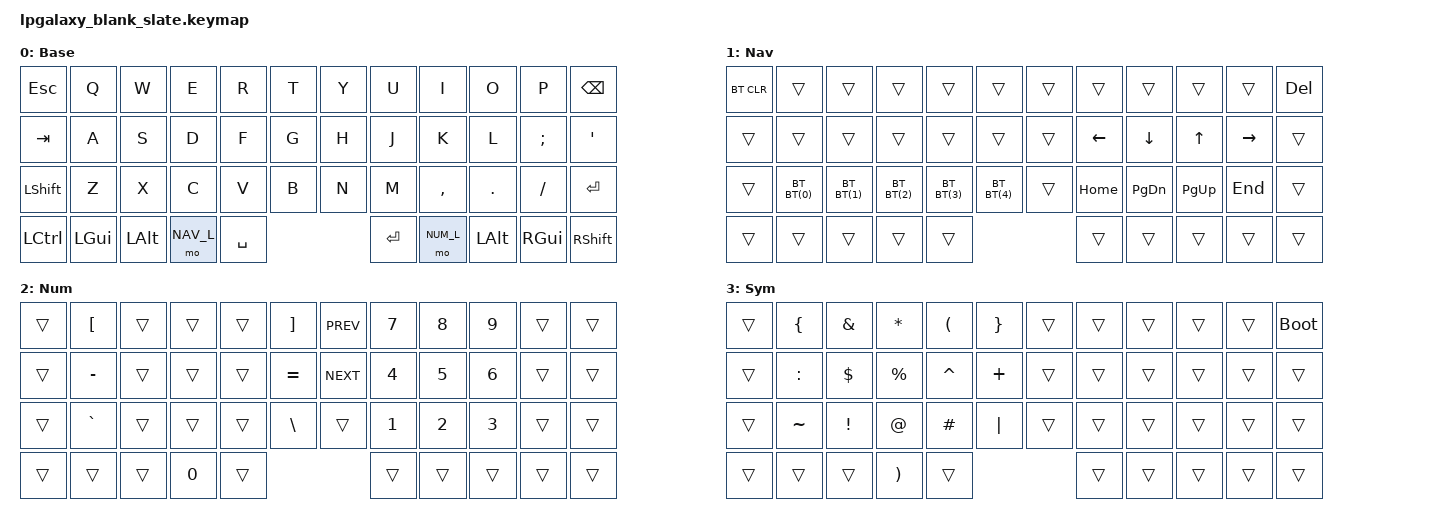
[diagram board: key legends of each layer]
/*
 * Copyright (c) 2022 Pete Johanson
 *
 * SPDX-License-Identifier: MIT
 */

#include <behaviors.dtsi>
#include <dt-bindings/zmk/keys.h>
#include <dt-bindings/zmk/bt.h>
#include <dt-bindings/zmk/outputs.h>

#define QWERTY_BASE 1

// #define TBLE_ORTHO   1
// #define TBLE_MIT     1
#define TBLE_DUAL_2U 1

#define NAV_L 1
#define NUM_L 2
#define SYM_L 3

// Using layer taps on thumbs, having quick tap as well helps w/ repeating space/backspace
&lt { quick_tap_ms = <200>; };

#define BT(n) BT_SEL n

/ {
    chosen {
       zmk,physical-layout =
#ifdef TBLE_DUAL_2U
                       &layout_ortho_4x12_2x2u;
#elif defined(TBLE_MIT)
                       &layout_ortho_4x12_1x2u;
#else
                       &layout_ortho_4x12_all1u;
#endif
    };

    macros {
      ZMK_MACRO(thumbs_up,
		wait-ms = <1>;
		tap-ms = <5>;
                bindings = <&kp PLUS &kp COLON &kp PLUS &kp N1 &kp COLON &kp RET>;
		)
    };
    
    tap_dances {
    	shifty: shift_caps_word {
		compatible = "zmk,behavior-tap-dance";
		label = "TD_SHIFTY";
		#binding-cells = <0>;
		tapping-term-ms = <150>;
		bindings = <&kp LSHFT>, <&caps_word>;
	};
    };

// Conditional layer only when we have less thumb keys
#ifdef TBLE_DUAL_2U
    cond_layers {
        compatible = "zmk,conditional-layers";
	tri {
	    if-layers = <NUM_L NAV_L>;
	    then-layer = <SYM_L>;
        };
    };
#endif

    keymap {
        compatible = "zmk,keymap";

        base_layer {
            label = "Base";
            bindings = <
#ifdef QWERTY_BASE
 &kp ESC    &kp Q      &kp W      &kp E       &kp R          &kp T          &kp Y            &kp U          &kp I       &kp O      &kp P         &kp BKSP
 &kp TAB    &kp A      &kp S      &kp D       &kp F          &kp G          &kp H            &kp J          &kp K       &kp L      &kp SEMI      &kp QUOT
 &kp LSHFT  &kp Z      &kp X      &kp C       &kp V          &kp B          &kp N            &kp M          &kp COMMA   &kp DOT    &kp FSLH      &kp RET
#else
 &kp ESC    &kp Q      &kp W      &kp F       &kp P          &kp B          &kp J            &kp L          &kp U       &kp Y      &kp QUOT      &kp BKSP
 &kp TAB    &kp A      &kp R      &kp S       &kp T          &kp G          &kp M            &kp N          &kp E       &kp I      &kp O         &kp QUOT
 &kp LSHFT  &kp Z      &kp X      &kp C       &kp D          &kp V          &kp K            &kp H          &kp COMMA   &kp DOT    &kp SEMI      &kp RET
#endif
#ifdef TBLE_DUAL_2U
 &kp LCTRL  &kp LGUI   &kp LALT   &mo NAV_L         &kp SPACE                        &kp RET                &mo NUM_L   &kp LALT   &kp RGUI      &kp RSHIFT
#elif defined(TBLE_MIT)
 &kp LCTRL  &mo SYM_L   &kp LGUI  &kp LALT    &mo NAV_L          &kp SPACE                   &mo NUM_L      &kp LEFT    &kp UP     &kp DOWN      &kp RIGHT
#else
 &kp LCTRL  &mo SYM_L   &kp LGUI  &kp LALT    &mo NAV_L      &kp SPACE      &kp RET          &mo NUM_L      &kp LEFT    &kp UP     &kp DOWN      &kp RIGHT
#endif
            >;
        };

        nav_layer {
            label = "Nav";
            bindings = <
&bt BT_CLR &trans     &trans     &trans      &trans          &trans       &trans     &trans         &trans      &trans     &trans     &kp DEL
&trans     &trans     &trans     &trans      &trans          &trans       &trans     &kp LEFT       &kp DOWN    &kp UP     &kp RIGHT  &trans
&trans     &bt BT(0)  &bt BT(1)  &bt BT(2)   &bt BT(3)       &bt BT(4)    &trans     &kp HOME       &kp PG_DN   &kp PG_UP  &kp END    &trans
#ifdef TBLE_DUAL_2U
&trans  &trans        &trans     &trans              &trans                    &trans       &trans         &trans &trans &trans
#elif defined(TBLE_MIT)
&trans  &trans        &trans     &trans      &trans                &trans             &trans      &trans   &trans &trans &trans
#else
&trans  &trans        &trans     &trans      &trans          &trans       &trans    &trans  &trans         &trans &trans &trans
#endif
            >;
        };

        num_layer {
            label = "Num";
            bindings = <
&trans     &kp LBKT   &trans &trans &trans    &kp RBKT    &kp C_PREV    &kp N7     &kp N8      &kp N9       &trans     &trans
&trans     &kp MINUS  &trans &trans &trans    &kp EQUAL   &kp C_NEXT    &kp N4     &kp N5      &kp N6       &trans     &trans
&trans     &kp GRAVE  &trans &trans &trans    &kp BSLH    &trans        &kp N1     &kp N2      &kp N3       &trans     &trans
#ifdef TBLE_DUAL_2U
&trans  &trans       &trans     &kp N0              &trans                 &trans            &trans         &trans &trans &trans
#elif defined(TBLE_MIT)
&trans  &trans       &trans     &kp N0      &trans           &none            &trans        &kp DEL      &trans &trans &trans
#else
&trans  &trans       &trans     &kp N0      &trans    &none         &none     &kp ESC        &kp DEL      &trans &trans &trans
#endif
            >;
        };

        sym_layer {
            label = "Sym";
            bindings = <
&trans     &kp LBRC   &kp AMPS   &kp STAR    &kp LPAR     &kp RBRC     &trans     &trans    &trans       &trans       &trans     &bootloader
&trans     &kp COLON  &kp DLLR   &kp PRCNT   &kp CARET    &kp PLUS     &trans     &trans    &trans       &trans       &trans     &trans
&trans     &kp TILDE  &kp EXCL   &kp AT      &kp HASH     &kp PIPE     &trans     &trans    &trans       &trans       &trans     &trans
#ifdef TBLE_DUAL_2U
&trans &trans        &trans     &kp RPAR                &trans                    &trans       &trans         &trans &trans &trans
#elif defined(TBLE_MIT)
&trans &trans        &trans     &kp RPAR        &trans                &trans             &trans      &trans   &trans &trans &trans
#else
&trans &trans        &trans     &kp RPAR        &trans          &trans       &trans    &trans  &trans         &trans &trans &trans
#endif
            >;
        };


    };
};

